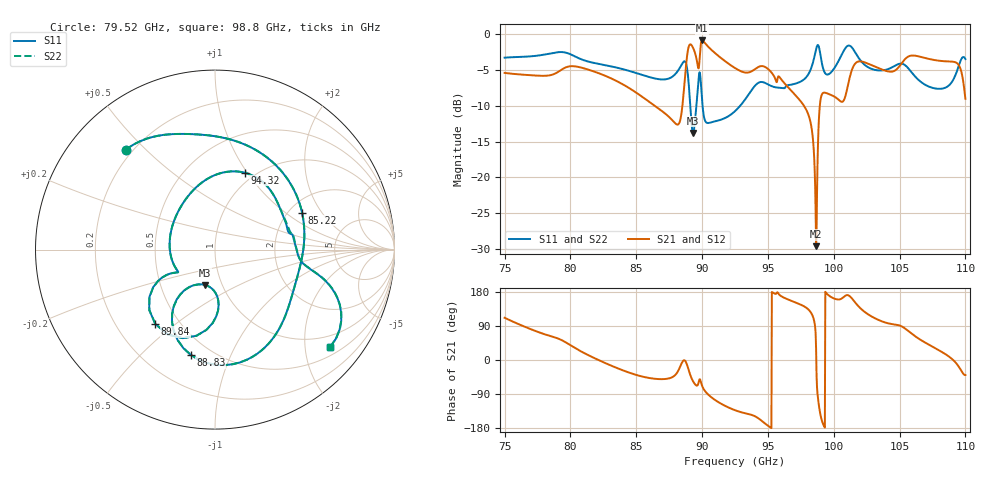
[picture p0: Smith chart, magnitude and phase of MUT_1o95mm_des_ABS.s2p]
! TOUCHSTONE file generated by CST MICROWAVE STUDIO
! Date and time: Thu Feb  8 16:53:17 2024
! Project name: material_desal.cst
! Header version: 2018
! Port assignment regex: !\s*Touchstone port\s*([0-9]+)\s*=\s*(CST MWS port|CST DS port)\s*([0-9]+|Zmin|Zmax)\s*\(\"(.*)\"\)(\s*mode\s*([0-9]+))?.*
! Touchstone port assignment:
! Touchstone port 1 = CST MWS port 1 ("")
! Touchstone port 2 = CST MWS port 2 ("")
# GHz S MA R 376.7
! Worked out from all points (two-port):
!   1001 points, 75 GHz to 110 GHz, reference 376.7 ohm
!   highest |S21| = -0.89 dB at 90.02 GHz (marker M1); lowest = -29.6 dB at 98.66 GHz (marker M2)
!   |S21| within 3 dB of the highest: 89.79 GHz to 91.83 GHz (2.034 GHz wide, 2.24 % of centre); 105.2 GHz to 109.2 GHz (3.924 GHz wide, 3.66 % of centre)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
!   lowest |S11| = -13.8 dB at 89.31 GHz (marker M3), VSWR 1.51, Z = 314 - j129 ohm
!   |S11| at or under -10 dB: 89.1 GHz to 89.57 GHz (464.1 MHz wide, 0.52 % of centre); 90.03 GHz to 92.9 GHz (2.861 GHz wide, 3.13 % of centre)
!   |S22| runs from -13.8 to -1.5 dB; largest |S21 - S12| = 0
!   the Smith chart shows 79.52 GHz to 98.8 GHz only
!   S11 on the Smith chart (normalised r, x): 79.52 GHz: 0.17, +0.44; 85.22 GHz: 2.34, +1.34; 88.83 GHz: 0.39, -0.72; 89.84 GHz: 0.37, -0.43; 94.32 GHz: 0.90, +0.97; 98.8 GHz: 0.69, -2.56
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75  0.6843 -139.5  0.5358 111.4  0.5358 111.4  0.6843 -139.5
79.515  0.7463 131.9  0.5777 49.1  0.5777 49.1  0.7465 131.9
80.845  0.6658 104.5  0.5829 21.9  0.5829 21.9  0.6657 104.6
85.22  0.5269 23.1  0.3779 -41.6  0.3779 -41.6  0.5275 23.1
86.69  0.4847 -7.5  0.3024 -50.3  0.3024 -50.3  0.4851 -7.5
88.23  0.5663 -50.6  0.2364 -25.6  0.2364 -25.6  0.5661 -50.5
88.825  0.6015 -103.1  0.6613 -9.7  0.6613 -9.7  0.6015 -103.0
89.315  0.2045 -105.3  0.8017 -56.3  0.8017 -56.3  0.205 -105.2
89.84  0.5313 -128.8  0.7398 -51.1  0.7398 -51.1  0.5311 -128.7
90.015  0.3305 -152.3  0.9027 -69.2  0.9027 -69.2  0.3306 -152.1
92.5  0.2898 137.1  0.5795 -132.5  0.5795 -132.5  0.2901 137.2
94.32  0.4593 68.9  0.5924 -155.0  0.5924 -155.0  0.4591 69.0
98.345  0.5993 -14.0  0.2126 120.4  0.2126 120.4  0.5999 -13.9
98.66  0.7845 -26.4  0.0331 29.4  0.0331 29.4  0.7849 -26.3
98.8  0.8398 -40.4  0.1661 -100.0  0.1661 -100.0  0.8403 -40.2
99.15  0.5963 -61.0  0.3854 -165.4  0.3854 -165.4  0.5973 -60.9
100.585  0.7119 -69.6  0.3371 161.7  0.3371 161.7  0.712 -69.5
101.565  0.7621 -113.0  0.6116 154.5  0.6116 154.5  0.7622 -113.0
104.19  0.5725 -161.3  0.5474 96.3  0.5474 96.3  0.5728 -161.2
105.87  0.5472 147.9  0.7074 70.8  0.7074 70.8  0.5474 148.1
108.425  0.4208 103.1  0.6462 16.7  0.6462 16.7  0.4211 103.3
110  0.6699 47.0  0.3534 -39.7  0.3534 -39.7  0.6701 47.2
